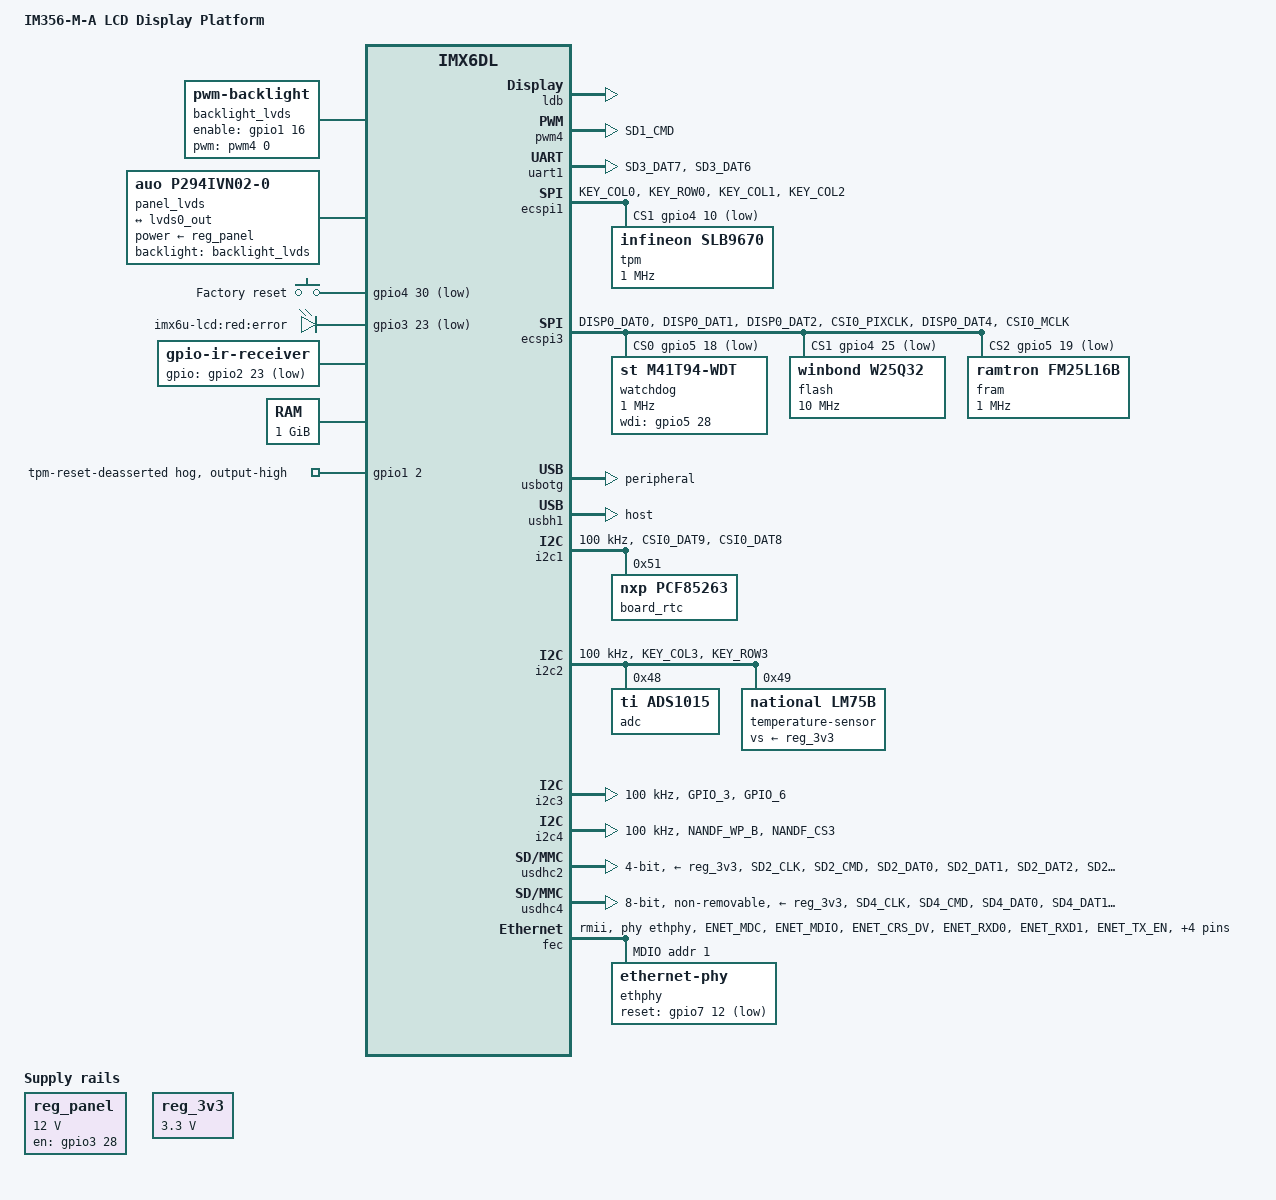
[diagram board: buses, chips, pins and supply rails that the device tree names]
/dts-v1/;

#include "imx6dl.dtsi"
#include <dt-bindings/gpio/gpio.h>
#include <dt-bindings/input/input.h>
#include <dt-bindings/pwm/pwm.h>
#include "imx6u-lcd-linux.dtsi"

/ {
	model = "IM356-M-A LCD Display Platform";
	compatible = "annax,imx6u-lcd", "fsl,imx6dl";

	aliases {
		rtc0 = &board_rtc;
		rtc1 = &snvs_rtc;
	};

	chosen {
		stdout-path = &uart1;
	};

	backlight_lvds: backlight-lvds {
		compatible = "pwm-backlight";
		pinctrl-names = "default";
		pinctrl-0 = <&pinctrl_backlight_off>;
		pwms = <&pwm4 0 500000 PWM_POLARITY_INVERTED>;
		enable-gpios = <&gpio1 16 GPIO_ACTIVE_HIGH>;
		brightness-levels = <0 10 20 30 40 50 60 70 80 90 100>;
		default-brightness-level = <8>;
	};

	panel_lvds: panel {
		compatible = "auo,p294ivn02-0";
		power-supply = <&reg_panel>;
		backlight = <&backlight_lvds>;
		data-mapping = "vesa-24";

		port {
			panel_lvds_in: endpoint {
				remote-endpoint = <&lvds0_out>;
			};
		};
	};

	reg_panel: regulator-panel {
		compatible = "regulator-fixed";
		pinctrl-names = "default";
		pinctrl-0 = <&pinctrl_panel_off>;
		regulator-name = "panel-vdd";
		regulator-min-microvolt = <12000000>;
		regulator-max-microvolt = <12000000>;
		gpio = <&gpio3 28 GPIO_ACTIVE_HIGH>;
		enable-active-high;
		startup-delay-us = <30000>;
		off-on-delay-us = <1000000>;
	};

	keys {
		compatible = "gpio-keys";
		pinctrl-names = "default";
		pinctrl-0 = <&pinctrl_keys>;

		factory-reset {
			label = "Factory reset";
			linux,code = <KEY_RESTART>;
			gpios = <&gpio4 30 GPIO_ACTIVE_LOW>;
			debounce-interval = <30>;
		};
	};

	leds {
		compatible = "gpio-leds";
		pinctrl-names = "default";
		pinctrl-0 = <&pinctrl_leds>;

		error {
			label = "imx6u-lcd:red:error";
			gpios = <&gpio3 23 GPIO_ACTIVE_LOW>;
			default-state = "off";
		};
	};

	ir-receiver {
		compatible = "gpio-ir-receiver";
		pinctrl-names = "default";
		pinctrl-0 = <&pinctrl_ir>;
		gpios = <&gpio2 23 GPIO_ACTIVE_LOW>;
	};

	memory@10000000 {
		device_type = "memory";
		reg = <0x10000000 0x40000000>;
	};

	reg_3v3: regulator-3v3 {
		compatible = "regulator-fixed";
		regulator-name = "GEN_3V3";
		regulator-min-microvolt = <3300000>;
		regulator-max-microvolt = <3300000>;
		regulator-always-on;
	};

	reserved-memory {
		linux,cma {
			size = <0x04000000>;
		};
	};
};

&clks {
	assigned-clocks = <&clks IMX6QDL_CLK_LDB_DI0_SEL>,
			  <&clks IMX6QDL_CLK_LDB_DI1_SEL>;
	assigned-clock-parents = <&clks IMX6QDL_CLK_PLL5_VIDEO_DIV>,
				 <&clks IMX6QDL_CLK_PLL5_VIDEO_DIV>;
};

&cpu0 {
	operating-points = <792000 1175000>, <396000 1150000>;
	fsl,soc-operating-points = <792000 1175000>, <396000 1175000>;
};

&{/cpus/cpu@1} {
	operating-points = <792000 1175000>, <396000 1150000>;
	fsl,soc-operating-points = <792000 1175000>, <396000 1175000>;
};

&epdc {
	status = "disabled";
};

&gpu {
	reg = <0x00130000 0x4000>, <0x00134000 0x4000>,
	      <0x10000000 0x0>, <0x0 0x02000000>;
};

&ldb {
	compatible = "fsl,imx6q-ldb", "fsl,imx53-ldb";
	clocks = <&clks IMX6QDL_CLK_LDB_DI0_SEL>,
		 <&clks IMX6QDL_CLK_LDB_DI1_SEL>,
		 <&clks IMX6QDL_CLK_IPU1_DI0_SEL>,
		 <&clks IMX6QDL_CLK_IPU1_DI1_SEL>,
		 <&clks IMX6QDL_CLK_LDB_DI0>,
		 <&clks IMX6QDL_CLK_LDB_DI1>;
	clock-names = "di0_pll", "di1_pll", "di0_sel", "di1_sel",
		      "di0", "di1";
	fsl,dual-channel;
	status = "okay";

	lvds-channel@0 {
		status = "okay";

		port@4 {
			reg = <4>;

			lvds0_out: endpoint {
				remote-endpoint = <&panel_lvds_in>;
			};
		};
	};
};

&pwm4 {
	pinctrl-names = "default";
	pinctrl-0 = <&pinctrl_pwm4>;
	status = "okay";
};

&uart1 {
	pinctrl-names = "default";
	pinctrl-0 = <&pinctrl_uart1>;
	status = "okay";
};

&ecspi1 {
	pinctrl-names = "default";
	pinctrl-0 = <&pinctrl_ecspi1>;
	cs-gpios = <0>, <&gpio4 10 GPIO_ACTIVE_LOW>;
	status = "okay";

	tpm@1 {
		compatible = "infineon,slb9670", "tcg,tpm_tis-spi";
		reg = <1>;
		spi-max-frequency = <1000000>;
	};
};

&ecspi3 {
	pinctrl-names = "default";
	pinctrl-0 = <&pinctrl_ecspi3>;
	cs-gpios = <&gpio5 18 GPIO_ACTIVE_LOW>,
		   <&gpio4 25 GPIO_ACTIVE_LOW>,
		   <&gpio5 19 GPIO_ACTIVE_LOW>;
	status = "okay";

	watchdog@0 {
		compatible = "st,m41t94-wdt";
		reg = <0>;
		spi-max-frequency = <1000000>;
		spi-cpol;
		spi-cpha;
		pinctrl-names = "default";
		pinctrl-0 = <&pinctrl_watchdog>;
		wdi-gpios = <&gpio5 28 GPIO_ACTIVE_HIGH>;
		timeout-sec = <60>;
	};

	flash@1 {
		compatible = "winbond,w25q32", "jedec,spi-nor";
		reg = <1>;
		spi-max-frequency = <10000000>;
	};

	fram@2 {
		compatible = "ramtron,fm25l16b", "atmel,at25";
		reg = <2>;
		spi-max-frequency = <1000000>;
		pagesize = <2048>;
		size = <2048>;
		address-width = <16>;
	};
};

&usbotg {
	dr_mode = "peripheral";
	disable-over-current;
	status = "okay";
};

&usbh1 {
	dr_mode = "host";
	disable-over-current;
	status = "okay";
};

&i2c1 {
	pinctrl-names = "default";
	pinctrl-0 = <&pinctrl_i2c1>;
	clock-frequency = <100000>;
	status = "okay";

	board_rtc: rtc@51 {
		compatible = "nxp,pcf85263";
		reg = <0x51>;
	};
};

&i2c2 {
	pinctrl-names = "default";
	pinctrl-0 = <&pinctrl_i2c2>;
	clock-frequency = <100000>;
	status = "okay";

	adc@48 {
		compatible = "ti,ads1015";
		reg = <0x48>;
		#address-cells = <1>;
		#size-cells = <0>;
		#io-channel-cells = <1>;

		channel@4 {
			reg = <4>;
			ti,gain = <1>;
			ti,datarate = <4>;
		};

		channel@5 {
			reg = <5>;
			ti,gain = <1>;
			ti,datarate = <4>;
		};

		channel@6 {
			reg = <6>;
			ti,gain = <1>;
			ti,datarate = <4>;
		};

		channel@7 {
			reg = <7>;
			ti,gain = <1>;
			ti,datarate = <4>;
		};
	};

	temperature-sensor@49 {
		compatible = "national,lm75b";
		reg = <0x49>;
		vs-supply = <&reg_3v3>;
	};
};

&i2c3 {
	pinctrl-names = "default";
	pinctrl-0 = <&pinctrl_i2c3>;
	clock-frequency = <100000>;
	status = "okay";
};

&i2c4 {
	pinctrl-names = "default";
	pinctrl-0 = <&pinctrl_i2c4>;
	clock-frequency = <100000>;
	status = "okay";
};

&usdhc2 {
	pinctrl-names = "default";
	pinctrl-0 = <&pinctrl_usdhc2>;
	bus-width = <4>;
	max-frequency = <25000000>;
	cd-gpios = <&gpio3 20 GPIO_ACTIVE_LOW>;
	vmmc-supply = <&reg_3v3>;
	vqmmc-supply = <&reg_3v3>;
	no-1-8-v;
	disable-wp;
	status = "okay";
};

&usdhc4 {
	pinctrl-names = "default";
	pinctrl-0 = <&pinctrl_usdhc4>;
	bus-width = <8>;
	max-frequency = <25000000>;
	non-removable;
	vmmc-supply = <&reg_3v3>;
	vqmmc-supply = <&reg_3v3>;
	no-1-8-v;
	status = "okay";
};

&fec {
	pinctrl-names = "default";
	pinctrl-0 = <&pinctrl_fec>;
	assigned-clocks = <&clks IMX6QDL_CLK_ENET_REF_SEL>;
	assigned-clock-parents = <&clk50m_phy>;
	phy-mode = "rmii";
	phy-handle = <&ethphy>;
	status = "okay";

	mdio {
		#address-cells = <1>;
		#size-cells = <0>;

		ethphy: ethernet-phy@1 {
			reg = <1>;
			reset-gpios = <&gpio7 12 GPIO_ACTIVE_LOW>;
			reset-assert-us = <10000>;
			reset-deassert-us = <100000>;
		};
	};
};

&gpio1 {
	pinctrl-names = "default";
	pinctrl-0 = <&pinctrl_tpm_reset>;

	tpm-reset-hog {
		gpio-hog;
		gpios = <2 GPIO_ACTIVE_HIGH>;
		output-high;
		line-name = "tpm-reset-deasserted";
	};

};

&iomuxc {
	pinctrl-names = "default";
	pinctrl-0 = <&pinctrl_board_id>;

	pinctrl_board_id: boardidgrp {
		fsl,pins = <
			MX6QDL_PAD_CSI0_DAT18__GPIO6_IO04 0x130b0
			MX6QDL_PAD_CSI0_DAT16__GPIO6_IO02 0x130b0
			MX6QDL_PAD_CSI0_DAT14__GPIO6_IO00 0x130b0
			MX6QDL_PAD_CSI0_DAT12__GPIO5_IO30 0x130b0
			MX6QDL_PAD_CSI0_DAT19__GPIO6_IO05 0x130b0
			MX6QDL_PAD_CSI0_DAT17__GPIO6_IO03 0x130b0
			MX6QDL_PAD_CSI0_DAT15__GPIO6_IO01 0x130b0
			MX6QDL_PAD_CSI0_DAT13__GPIO5_IO31 0x130b0
		>;
	};

	pinctrl_ecspi1: ecspi1grp {
		fsl,pins = <
			MX6QDL_PAD_KEY_COL0__ECSPI1_SCLK 0x100b1
			MX6QDL_PAD_KEY_ROW0__ECSPI1_MOSI 0x100b1
			MX6QDL_PAD_KEY_COL1__ECSPI1_MISO 0x100b1
			MX6QDL_PAD_KEY_COL2__GPIO4_IO10 0x1b0b0
		>;
	};

	pinctrl_ecspi3: ecspi3grp {
		fsl,pins = <
			MX6QDL_PAD_DISP0_DAT0__ECSPI3_SCLK 0x100b1
			MX6QDL_PAD_DISP0_DAT1__ECSPI3_MOSI 0x100b1
			MX6QDL_PAD_DISP0_DAT2__ECSPI3_MISO 0x100b1
			MX6QDL_PAD_CSI0_PIXCLK__GPIO5_IO18 0x1b0b0
			MX6QDL_PAD_DISP0_DAT4__GPIO4_IO25 0x1b0b0
			MX6QDL_PAD_CSI0_MCLK__GPIO5_IO19 0x1b0b0
		>;
	};

	pinctrl_tpm_reset: tpmresetgrp {
		fsl,pins = <MX6QDL_PAD_GPIO_2__GPIO1_IO02 0x1b0b0>;
	};

	pinctrl_watchdog: watchdoggrp {
		fsl,pins = <MX6QDL_PAD_CSI0_DAT10__GPIO5_IO28 0x1b0b0>;
	};

	pinctrl_keys: keysgrp {
		fsl,pins = <MX6QDL_PAD_DISP0_DAT9__GPIO4_IO30 0x1b0b0>;
	};

	pinctrl_leds: ledsgrp {
		fsl,pins = <MX6QDL_PAD_EIM_D23__GPIO3_IO23 0x1b0b0>;
	};

	pinctrl_ir: irgrp {
		fsl,pins = <MX6QDL_PAD_EIM_CS0__GPIO2_IO23 0x1b0b0>;
	};

	pinctrl_i2c1: i2c1grp {
		fsl,pins = <
			MX6QDL_PAD_CSI0_DAT9__I2C1_SCL 0x4001b8b1
			MX6QDL_PAD_CSI0_DAT8__I2C1_SDA 0x4001b8b1
		>;
	};

	pinctrl_i2c2: i2c2grp {
		fsl,pins = <
			MX6QDL_PAD_KEY_COL3__I2C2_SCL 0x4001b8b1
			MX6QDL_PAD_KEY_ROW3__I2C2_SDA 0x4001b8b1
		>;
	};

	pinctrl_i2c3: i2c3grp {
		fsl,pins = <
			MX6QDL_PAD_GPIO_3__I2C3_SCL 0x4001b8b1
			MX6QDL_PAD_GPIO_6__I2C3_SDA 0x4001b8b1
		>;
	};

	pinctrl_i2c4: i2c4grp {
		fsl,pins = <
			MX6QDL_PAD_NANDF_WP_B__I2C4_SCL 0x4001b8b1
			MX6QDL_PAD_NANDF_CS3__I2C4_SDA 0x4001b8b1
		>;
	};

	pinctrl_uart1: uart1grp {
		fsl,pins = <
			MX6QDL_PAD_SD3_DAT7__UART1_TX_DATA 0x1b0b1
			MX6QDL_PAD_SD3_DAT6__UART1_RX_DATA 0x1b0b1
		>;
	};

	pinctrl_usdhc2: usdhc2grp {
		fsl,pins = <
			MX6QDL_PAD_SD2_CLK__SD2_CLK 0x17059
			MX6QDL_PAD_SD2_CMD__SD2_CMD 0x17059
			MX6QDL_PAD_SD2_DAT0__SD2_DATA0 0x17059
			MX6QDL_PAD_SD2_DAT1__SD2_DATA1 0x17059
			MX6QDL_PAD_SD2_DAT2__SD2_DATA2 0x17059
			MX6QDL_PAD_SD2_DAT3__SD2_DATA3 0x17059
			MX6QDL_PAD_EIM_D20__GPIO3_IO20 0x1b0b0
		>;
	};

	pinctrl_usdhc4: usdhc4grp {
		fsl,pins = <
			MX6QDL_PAD_SD4_CLK__SD4_CLK 0x17059
			MX6QDL_PAD_SD4_CMD__SD4_CMD 0x17059
			MX6QDL_PAD_SD4_DAT0__SD4_DATA0 0x17059
			MX6QDL_PAD_SD4_DAT1__SD4_DATA1 0x17059
			MX6QDL_PAD_SD4_DAT2__SD4_DATA2 0x17059
			MX6QDL_PAD_SD4_DAT3__SD4_DATA3 0x17059
			MX6QDL_PAD_SD4_DAT4__SD4_DATA4 0x17059
			MX6QDL_PAD_SD4_DAT5__SD4_DATA5 0x17059
			MX6QDL_PAD_SD4_DAT6__SD4_DATA6 0x17059
			MX6QDL_PAD_SD4_DAT7__SD4_DATA7 0x17059
		>;
	};

	pinctrl_fec: fecgrp {
		fsl,pins = <
			MX6QDL_PAD_ENET_MDC__ENET_MDC 0x1b0b0
			MX6QDL_PAD_ENET_MDIO__ENET_MDIO 0x1b0b0
			MX6QDL_PAD_ENET_CRS_DV__ENET_RX_EN 0x1b0b0
			MX6QDL_PAD_ENET_RXD0__ENET_RX_DATA0 0x1b0b0
			MX6QDL_PAD_ENET_RXD1__ENET_RX_DATA1 0x1b0b0
			MX6QDL_PAD_ENET_TX_EN__ENET_TX_EN 0x1b0b0
			MX6QDL_PAD_ENET_TXD0__ENET_TX_DATA0 0x1b0b0
			MX6QDL_PAD_ENET_TXD1__ENET_TX_DATA1 0x1b0b0
			MX6QDL_PAD_GPIO_16__ENET_REF_CLK 0x4001b0b0
			MX6QDL_PAD_GPIO_17__GPIO7_IO12 0x1b0b0
		>;
	};

	pinctrl_backlight_off: backlightoffgrp {
		fsl,pins = <MX6QDL_PAD_SD1_DAT0__GPIO1_IO16 0x1b0b0>;
	};

	pinctrl_pwm4: pwm4grp {
		fsl,pins = <MX6QDL_PAD_SD1_CMD__PWM4_OUT 0x1b0b0>;
	};

	pinctrl_panel_off: paneloffgrp {
		fsl,pins = <MX6QDL_PAD_EIM_D28__GPIO3_IO28 0x1b0b0>;
	};
};
